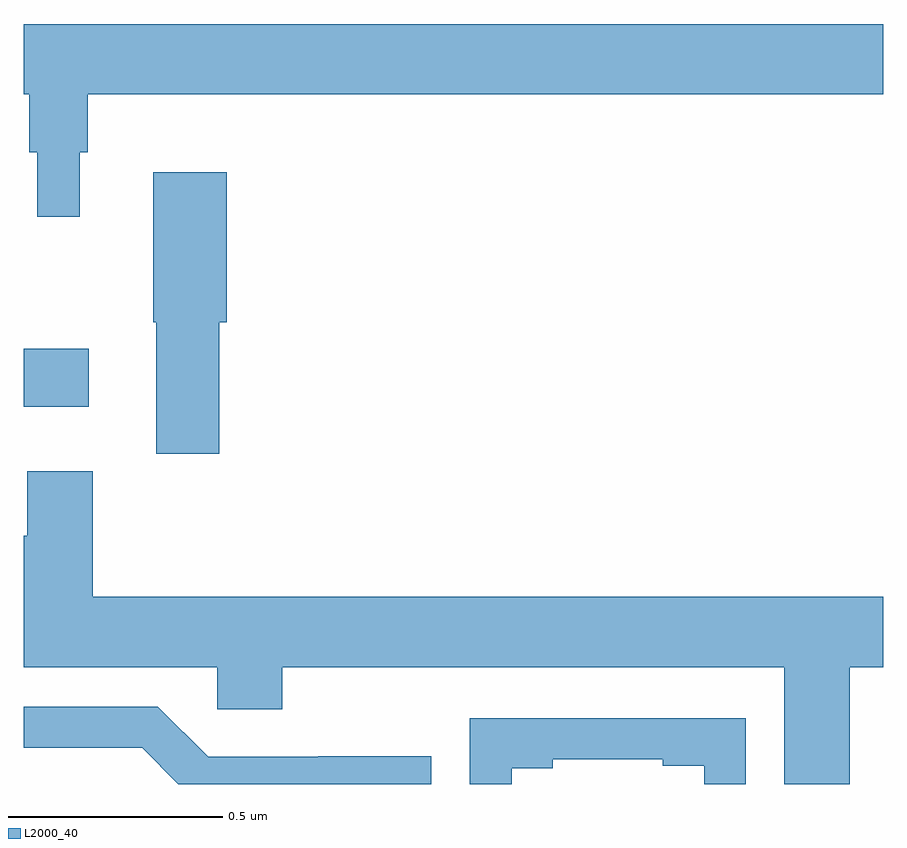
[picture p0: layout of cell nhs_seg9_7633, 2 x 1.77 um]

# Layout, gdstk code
import gdstk
lib = gdstk.Library(unit=1e-6, precision=1e-09)
def R(c, l, rs):  # rectangles x0, y0, x1, y1
    for r in rs: c.add(gdstk.rectangle(r[:2], r[2:], *l))
def P(c, l, *ps):  # polygons
    for p in ps: c.add(gdstk.Polygon(p, *l))
L2000_40 = (2000, 40)

nhs_seg9_7633 = lib.new_cell('nhs_seg9_7633')
R(nhs_seg9_7633, L2000_40, [(207,1178.378,207.151,1178.513)])
P(nhs_seg9_7633, L2000_40, [(207.13,1178.97),(207.149,1178.97),(207.149,1179.104),(209,1179.104),(209,1179.268),(207,1179.268),(207,1179.104),(207.013,1179.104),(207.013,1178.97),(207.032,1178.97),(207.032,1178.82),(207.13,1178.82)],
  [(207.455,1178.574),(207.473,1178.574),(207.473,1178.923),(207.302,1178.923),(207.302,1178.574),(207.308,1178.574),(207.308,1178.268),(207.455,1178.268)],
  [(208.922,1177.772),(209,1177.772),(209,1177.936),(207.161,1177.936),(207.161,1178.227),(207.008,1178.227),(207.008,1178.078),(207,1178.078),(207,1177.772),(207.45,1177.772),(207.45,1177.674),(207.602,1177.674),(207.602,1177.772),(208.769,1177.772),(208.769,1177.5),(208.922,1177.5)],
  [(207.948,1177.565),(207.685,1177.565),(207.685,1177.563),(207.429,1177.563),(207.312,1177.68),(207,1177.68),(207,1177.584),(207.276,1177.584),(207.36,1177.5),(207.948,1177.5)],
  [(208.135,1177.537),(208.231,1177.537),(208.231,1177.557),(208.487,1177.557),(208.487,1177.542),(208.583,1177.542),(208.583,1177.5),(208.68,1177.5),(208.68,1177.653),(208.038,1177.653),(208.038,1177.5),(208.135,1177.5)])

lib.write_gds('nhs_seg9_7633.gds')
